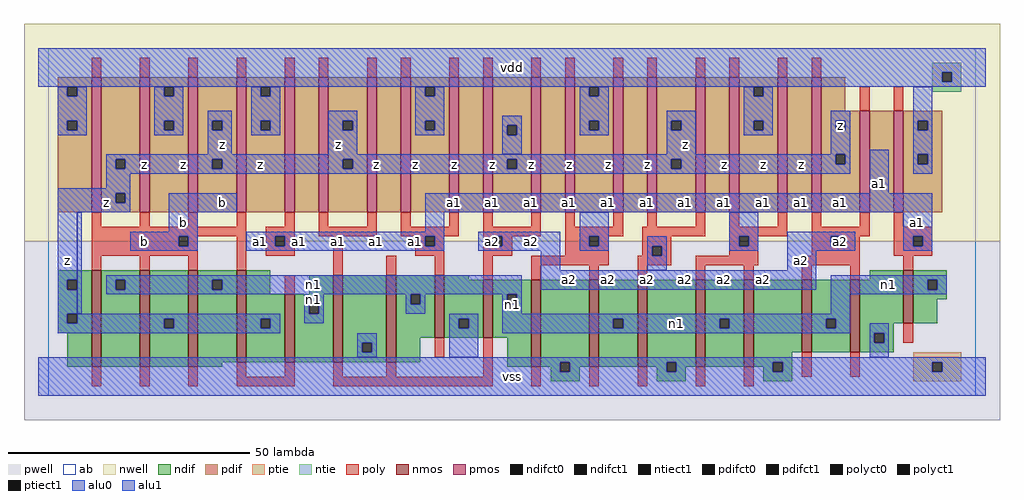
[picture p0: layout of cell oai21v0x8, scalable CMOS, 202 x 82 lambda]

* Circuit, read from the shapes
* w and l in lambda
.subckt oai21v0x8 a1 a2 b n1 vdd vss z
M1 n1 b z vss nfet w=20 l=2 m=3
M2 z b n1 vss nfet w=19 l=2
M3 n1 b z vss nfet w=14 l=2
M4 vss a2 n1 vss nfet w=18 l=2 m=3
M5 vss a1 n1 vss nfet w=13 l=2
M6 n1 a2 vss vss nfet w=12 l=2
M7 vss a1 n1 vss nfet w=18 l=2 m=4
M8 n1 a2 vss vss nfet w=15 l=2 m=2
M9 n1 a1 vss vss nfet w=11 l=2
M10 z b vdd vdd pfet w=28 l=2 m=4
M11 n2 a1 vdd vdd pfet w=28 l=2
M12 z a2 n2 vdd pfet w=28 l=2
M13 n3 a2 z vdd pfet w=28 l=2
M14 vdd a1 n3 vdd pfet w=28 l=2
M15 n4 a1 vdd vdd pfet w=28 l=2
M16 z a2 n4 vdd pfet w=28 l=2
M17 n5 a2 z vdd pfet w=28 l=2
M18 vdd a1 n5 vdd pfet w=28 l=2
M19 n6 a1 vdd vdd pfet w=28 l=2
M20 z a2 n6 vdd pfet w=28 l=2
M21 n7 a2 z vdd pfet w=28 l=2
M22 vdd a1 n7 vdd pfet w=28 l=2
M23 n8 a1 vdd vdd pfet w=28 l=2
M24 z a2 n8 vdd pfet w=28 l=2
M25 n9 a2 z vdd pfet w=21 l=2
M26 vdd a1 n9 vdd pfet w=21 l=2
.ends

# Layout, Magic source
magic
tech scmos
<< ab >>
rect 0 0 192 72
<< nwell >>
rect -5 32 197 77
<< pwell >>
rect -5 -5 197 32
<< poly >>
rect 9 66 11 70
rect 19 66 21 70
rect 29 66 31 70
rect 39 66 41 70
rect 49 66 51 70
rect 56 66 58 70
rect 66 66 68 70
rect 73 66 75 70
rect 83 66 85 70
rect 90 66 92 70
rect 100 66 102 70
rect 107 66 109 70
rect 117 66 119 70
rect 124 66 126 70
rect 134 66 136 70
rect 141 66 143 70
rect 151 66 153 70
rect 158 66 160 70
rect 168 59 170 64
rect 175 59 177 64
rect 9 35 11 38
rect 19 35 21 38
rect 29 35 31 38
rect 39 35 41 38
rect 49 35 51 38
rect 9 33 41 35
rect 9 31 27 33
rect 29 31 31 33
rect 9 29 31 31
rect 9 26 11 29
rect 19 26 21 29
rect 29 26 31 29
rect 39 26 41 33
rect 45 33 51 35
rect 56 35 58 38
rect 66 35 68 38
rect 56 33 68 35
rect 73 35 75 38
rect 83 35 85 38
rect 73 33 85 35
rect 90 35 92 38
rect 100 35 102 38
rect 90 33 102 35
rect 107 35 109 38
rect 117 35 119 38
rect 124 35 126 38
rect 134 35 136 38
rect 107 33 119 35
rect 123 33 136 35
rect 141 35 143 38
rect 151 35 153 38
rect 141 33 153 35
rect 158 35 160 38
rect 168 35 170 38
rect 158 33 170 35
rect 175 35 177 38
rect 175 33 183 35
rect 45 31 47 33
rect 49 31 51 33
rect 45 29 51 31
rect 59 25 61 33
rect 76 31 78 33
rect 80 31 82 33
rect 76 29 82 31
rect 70 25 72 29
rect 80 25 82 29
rect 90 31 92 33
rect 94 31 96 33
rect 90 29 96 31
rect 107 31 112 33
rect 114 31 116 33
rect 107 29 116 31
rect 123 31 129 33
rect 123 29 125 31
rect 127 29 129 31
rect 141 31 143 33
rect 145 31 147 33
rect 141 29 147 31
rect 158 31 162 33
rect 164 31 168 33
rect 158 29 168 31
rect 175 31 179 33
rect 181 31 183 33
rect 175 29 183 31
rect 49 21 51 25
rect 90 24 92 29
rect 100 27 116 29
rect 122 27 129 29
rect 134 27 147 29
rect 156 27 168 29
rect 100 24 102 27
rect 112 24 114 27
rect 122 24 124 27
rect 134 24 136 27
rect 144 24 146 27
rect 156 24 158 27
rect 166 24 168 27
rect 177 26 179 29
rect 80 8 82 12
rect 9 2 11 6
rect 19 2 21 6
rect 29 2 31 6
rect 39 4 41 7
rect 49 4 51 7
rect 39 2 51 4
rect 59 4 61 7
rect 70 4 72 7
rect 90 4 92 12
rect 59 2 92 4
rect 100 2 102 6
rect 112 2 114 6
rect 122 2 124 6
rect 177 11 179 15
rect 134 2 136 6
rect 144 2 146 6
rect 156 4 158 9
rect 166 4 168 9
<< ndif >>
rect 2 24 9 26
rect 2 22 4 24
rect 6 22 9 24
rect 2 17 9 22
rect 2 15 4 17
rect 6 15 9 17
rect 2 13 9 15
rect 4 6 9 13
rect 11 24 19 26
rect 11 22 14 24
rect 16 22 19 24
rect 11 6 19 22
rect 21 16 29 26
rect 21 14 24 16
rect 26 14 29 16
rect 21 6 29 14
rect 31 24 39 26
rect 31 22 34 24
rect 36 22 39 24
rect 31 7 39 22
rect 41 21 46 26
rect 54 21 59 25
rect 41 16 49 21
rect 41 14 44 16
rect 46 14 49 16
rect 41 7 49 14
rect 51 19 59 21
rect 51 17 54 19
rect 56 17 59 19
rect 51 7 59 17
rect 61 11 70 25
rect 61 9 65 11
rect 67 9 70 11
rect 61 7 70 9
rect 72 21 80 25
rect 72 19 75 21
rect 77 19 80 21
rect 72 12 80 19
rect 82 24 87 25
rect 170 24 177 26
rect 82 16 90 24
rect 82 14 85 16
rect 87 14 90 16
rect 82 12 90 14
rect 92 21 100 24
rect 92 19 95 21
rect 97 19 100 21
rect 92 12 100 19
rect 72 7 77 12
rect 31 6 36 7
rect 95 6 100 12
rect 102 7 112 24
rect 102 6 106 7
rect 104 5 106 6
rect 108 6 112 7
rect 114 16 122 24
rect 114 14 117 16
rect 119 14 122 16
rect 114 6 122 14
rect 124 7 134 24
rect 124 6 128 7
rect 108 5 110 6
rect 104 3 110 5
rect 126 5 128 6
rect 130 6 134 7
rect 136 16 144 24
rect 136 14 139 16
rect 141 14 144 16
rect 136 6 144 14
rect 146 9 156 24
rect 158 16 166 24
rect 158 14 161 16
rect 163 14 166 16
rect 158 9 166 14
rect 168 15 177 24
rect 179 24 186 26
rect 179 22 182 24
rect 184 22 186 24
rect 179 20 186 22
rect 179 15 184 20
rect 168 13 175 15
rect 168 11 171 13
rect 173 11 175 13
rect 168 9 175 11
rect 146 7 154 9
rect 146 6 150 7
rect 130 5 132 6
rect 126 3 132 5
rect 148 5 150 6
rect 152 5 154 7
rect 148 3 154 5
<< pdif >>
rect 2 64 9 66
rect 2 62 4 64
rect 6 62 9 64
rect 2 57 9 62
rect 2 55 4 57
rect 6 55 9 57
rect 2 38 9 55
rect 11 49 19 66
rect 11 47 14 49
rect 16 47 19 49
rect 11 42 19 47
rect 11 40 14 42
rect 16 40 19 42
rect 11 38 19 40
rect 21 64 29 66
rect 21 62 24 64
rect 26 62 29 64
rect 21 57 29 62
rect 21 55 24 57
rect 26 55 29 57
rect 21 38 29 55
rect 31 57 39 66
rect 31 55 34 57
rect 36 55 39 57
rect 31 49 39 55
rect 31 47 34 49
rect 36 47 39 49
rect 31 38 39 47
rect 41 64 49 66
rect 41 62 44 64
rect 46 62 49 64
rect 41 57 49 62
rect 41 55 44 57
rect 46 55 49 57
rect 41 38 49 55
rect 51 38 56 66
rect 58 57 66 66
rect 58 55 61 57
rect 63 55 66 57
rect 58 49 66 55
rect 58 47 61 49
rect 63 47 66 49
rect 58 38 66 47
rect 68 38 73 66
rect 75 64 83 66
rect 75 62 78 64
rect 80 62 83 64
rect 75 57 83 62
rect 75 55 78 57
rect 80 55 83 57
rect 75 38 83 55
rect 85 38 90 66
rect 92 56 100 66
rect 92 54 95 56
rect 97 54 100 56
rect 92 49 100 54
rect 92 47 95 49
rect 97 47 100 49
rect 92 38 100 47
rect 102 38 107 66
rect 109 64 117 66
rect 109 62 112 64
rect 114 62 117 64
rect 109 57 117 62
rect 109 55 112 57
rect 114 55 117 57
rect 109 38 117 55
rect 119 38 124 66
rect 126 57 134 66
rect 126 55 129 57
rect 131 55 134 57
rect 126 49 134 55
rect 126 47 129 49
rect 131 47 134 49
rect 126 38 134 47
rect 136 38 141 66
rect 143 64 151 66
rect 143 62 146 64
rect 148 62 151 64
rect 143 57 151 62
rect 143 55 146 57
rect 148 55 151 57
rect 143 38 151 55
rect 153 38 158 66
rect 160 59 165 66
rect 160 57 168 59
rect 160 55 163 57
rect 165 55 168 57
rect 160 50 168 55
rect 160 48 163 50
rect 165 48 168 50
rect 160 38 168 48
rect 170 38 175 59
rect 177 57 185 59
rect 177 55 180 57
rect 182 55 185 57
rect 177 50 185 55
rect 177 48 180 50
rect 182 48 185 50
rect 177 38 185 48
<< alu1 >>
rect -2 67 194 72
rect -2 65 185 67
rect 187 65 194 67
rect -2 64 194 65
rect 33 57 38 59
rect 33 55 34 57
rect 36 55 38 57
rect 33 50 38 55
rect 58 57 64 59
rect 58 55 61 57
rect 63 55 64 57
rect 58 50 64 55
rect 128 57 134 59
rect 128 55 129 57
rect 131 55 134 57
rect 128 50 134 55
rect 162 57 166 59
rect 162 55 163 57
rect 165 55 166 57
rect 162 50 166 55
rect 12 49 163 50
rect 12 47 14 49
rect 16 47 34 49
rect 36 47 61 49
rect 63 47 95 49
rect 97 47 129 49
rect 131 48 163 49
rect 165 48 166 50
rect 131 47 166 48
rect 12 46 166 47
rect 12 43 17 46
rect 2 42 17 43
rect 170 42 174 51
rect 2 40 14 42
rect 16 40 17 42
rect 2 38 17 40
rect 25 38 39 42
rect 78 38 183 42
rect 2 24 6 38
rect 2 22 4 24
rect 2 17 6 22
rect 25 34 31 38
rect 78 34 82 38
rect 17 33 31 34
rect 17 31 27 33
rect 29 31 31 33
rect 17 30 31 31
rect 41 33 82 34
rect 41 31 47 33
rect 49 31 78 33
rect 80 31 82 33
rect 41 30 82 31
rect 89 33 106 34
rect 89 31 92 33
rect 94 31 106 33
rect 89 30 106 31
rect 102 26 106 30
rect 153 33 167 34
rect 153 31 162 33
rect 164 31 167 33
rect 153 30 167 31
rect 177 33 183 38
rect 177 31 179 33
rect 181 31 183 33
rect 177 30 183 31
rect 153 26 159 30
rect 102 22 159 26
rect 2 15 4 17
rect 6 16 48 17
rect 6 15 24 16
rect 2 14 24 15
rect 26 14 44 16
rect 46 14 48 16
rect 2 13 48 14
rect -2 7 194 8
rect -2 5 106 7
rect 108 5 128 7
rect 130 5 150 7
rect 152 5 183 7
rect 185 5 194 7
rect -2 0 194 5
<< ptie >>
rect 179 7 189 9
rect 179 5 183 7
rect 185 5 189 7
rect 179 3 189 5
<< ntie >>
rect 183 67 189 69
rect 183 65 185 67
rect 187 65 189 67
rect 183 63 189 65
<< nmos >>
rect 9 6 11 26
rect 19 6 21 26
rect 29 6 31 26
rect 39 7 41 26
rect 49 7 51 21
rect 59 7 61 25
rect 70 7 72 25
rect 80 12 82 25
rect 90 12 92 24
rect 100 6 102 24
rect 112 6 114 24
rect 122 6 124 24
rect 134 6 136 24
rect 144 6 146 24
rect 156 9 158 24
rect 166 9 168 24
rect 177 15 179 26
<< pmos >>
rect 9 38 11 66
rect 19 38 21 66
rect 29 38 31 66
rect 39 38 41 66
rect 49 38 51 66
rect 56 38 58 66
rect 66 38 68 66
rect 73 38 75 66
rect 83 38 85 66
rect 90 38 92 66
rect 100 38 102 66
rect 107 38 109 66
rect 117 38 119 66
rect 124 38 126 66
rect 134 38 136 66
rect 141 38 143 66
rect 151 38 153 66
rect 158 38 160 66
rect 168 38 170 59
rect 175 38 177 59
<< polyct0 >>
rect 112 31 114 33
rect 125 29 127 31
rect 143 31 145 33
<< polyct1 >>
rect 27 31 29 33
rect 47 31 49 33
rect 78 31 80 33
rect 92 31 94 33
rect 162 31 164 33
rect 179 31 181 33
<< ndifct0 >>
rect 14 22 16 24
rect 34 22 36 24
rect 54 17 56 19
rect 65 9 67 11
rect 75 19 77 21
rect 85 14 87 16
rect 95 19 97 21
rect 117 14 119 16
rect 139 14 141 16
rect 161 14 163 16
rect 182 22 184 24
rect 171 11 173 13
<< ndifct1 >>
rect 4 22 6 24
rect 4 15 6 17
rect 24 14 26 16
rect 44 14 46 16
rect 106 5 108 7
rect 128 5 130 7
rect 150 5 152 7
<< ntiect1 >>
rect 185 65 187 67
<< ptiect1 >>
rect 183 5 185 7
<< pdifct0 >>
rect 4 62 6 64
rect 4 55 6 57
rect 24 62 26 64
rect 24 55 26 57
rect 44 62 46 64
rect 44 55 46 57
rect 78 62 80 64
rect 78 55 80 57
rect 95 54 97 56
rect 112 62 114 64
rect 112 55 114 57
rect 146 62 148 64
rect 146 55 148 57
rect 180 55 182 57
rect 180 48 182 50
<< pdifct1 >>
rect 14 47 16 49
rect 14 40 16 42
rect 34 55 36 57
rect 34 47 36 49
rect 61 55 63 57
rect 61 47 63 49
rect 95 47 97 49
rect 129 55 131 57
rect 129 47 131 49
rect 163 55 165 57
rect 163 48 165 50
<< alu0 >>
rect 2 62 4 64
rect 6 62 8 64
rect 2 57 8 62
rect 2 55 4 57
rect 6 55 8 57
rect 2 54 8 55
rect 22 62 24 64
rect 26 62 28 64
rect 22 57 28 62
rect 42 62 44 64
rect 46 62 48 64
rect 22 55 24 57
rect 26 55 28 57
rect 22 54 28 55
rect 42 57 48 62
rect 76 62 78 64
rect 80 62 82 64
rect 42 55 44 57
rect 46 55 48 57
rect 42 54 48 55
rect 76 57 82 62
rect 110 62 112 64
rect 114 62 116 64
rect 76 55 78 57
rect 80 55 82 57
rect 76 54 82 55
rect 94 56 98 58
rect 94 54 95 56
rect 97 54 98 56
rect 110 57 116 62
rect 144 62 146 64
rect 148 62 150 64
rect 110 55 112 57
rect 114 55 116 57
rect 110 54 116 55
rect 94 50 98 54
rect 144 57 150 62
rect 144 55 146 57
rect 148 55 150 57
rect 144 54 150 55
rect 179 57 183 64
rect 179 55 180 57
rect 182 55 183 57
rect 179 50 183 55
rect 179 48 180 50
rect 182 48 183 50
rect 179 46 183 48
rect 6 17 7 38
rect 110 33 116 38
rect 141 33 147 38
rect 110 31 112 33
rect 114 31 116 33
rect 110 30 116 31
rect 124 31 128 33
rect 124 29 125 31
rect 127 29 128 31
rect 141 31 143 33
rect 145 31 147 33
rect 141 30 147 31
rect 124 26 128 29
rect 12 24 98 25
rect 12 22 14 24
rect 16 22 34 24
rect 36 22 98 24
rect 162 24 186 25
rect 162 22 182 24
rect 184 22 186 24
rect 12 21 98 22
rect 53 19 57 21
rect 53 17 54 19
rect 56 17 57 19
rect 74 19 75 21
rect 77 19 78 21
rect 74 17 78 19
rect 94 19 95 21
rect 97 19 98 21
rect 94 17 98 19
rect 162 21 186 22
rect 162 17 166 21
rect 53 15 57 17
rect 83 16 89 17
rect 83 14 85 16
rect 87 14 89 16
rect 64 11 68 13
rect 64 9 65 11
rect 67 9 68 11
rect 64 8 68 9
rect 83 8 89 14
rect 94 16 166 17
rect 94 14 117 16
rect 119 14 139 16
rect 141 14 161 16
rect 163 14 166 16
rect 94 13 166 14
rect 170 13 174 15
rect 170 11 171 13
rect 173 11 174 13
rect 170 8 174 11
<< labels >>
rlabel alu0 55 20 55 20 6 n1
rlabel alu0 96 19 96 19 6 n1
rlabel alu0 55 23 55 23 6 n1
rlabel alu0 130 15 130 15 6 n1
rlabel alu0 174 23 174 23 6 n1
rlabel alu1 20 32 20 32 6 b
rlabel alu1 4 28 4 28 6 z
rlabel alu1 28 36 28 36 6 b
rlabel alu1 12 40 12 40 6 z
rlabel alu1 28 48 28 48 6 z
rlabel alu1 20 48 20 48 6 z
rlabel alu1 44 32 44 32 6 a1
rlabel alu1 52 32 52 32 6 a1
rlabel alu1 60 32 60 32 6 a1
rlabel alu1 68 32 68 32 6 a1
rlabel alu1 36 40 36 40 6 b
rlabel alu1 36 52 36 52 6 z
rlabel alu1 68 48 68 48 6 z
rlabel alu1 44 48 44 48 6 z
rlabel alu1 60 52 60 52 6 z
rlabel alu1 96 4 96 4 6 vss
rlabel alu1 108 24 108 24 6 a2
rlabel alu1 92 32 92 32 6 a2
rlabel alu1 100 32 100 32 6 a2
rlabel alu1 76 32 76 32 6 a1
rlabel alu1 100 40 100 40 6 a1
rlabel alu1 108 40 108 40 6 a1
rlabel alu1 84 40 84 40 6 a1
rlabel alu1 92 40 92 40 6 a1
rlabel alu1 76 48 76 48 6 z
rlabel alu1 100 48 100 48 6 z
rlabel alu1 108 48 108 48 6 z
rlabel alu1 84 48 84 48 6 z
rlabel alu1 92 48 92 48 6 z
rlabel alu1 96 68 96 68 6 vdd
rlabel alu1 116 24 116 24 6 a2
rlabel alu1 132 24 132 24 6 a2
rlabel alu1 140 24 140 24 6 a2
rlabel alu1 148 24 148 24 6 a2
rlabel alu1 124 24 124 24 6 a2
rlabel alu1 116 40 116 40 6 a1
rlabel alu1 132 40 132 40 6 a1
rlabel alu1 140 40 140 40 6 a1
rlabel alu1 148 40 148 40 6 a1
rlabel alu1 124 40 124 40 6 a1
rlabel alu1 116 48 116 48 6 z
rlabel alu1 132 52 132 52 6 z
rlabel alu1 140 48 140 48 6 z
rlabel alu1 148 48 148 48 6 z
rlabel alu1 124 48 124 48 6 z
rlabel alu1 164 32 164 32 6 a2
rlabel alu1 156 28 156 28 6 a2
rlabel alu1 156 40 156 40 6 a1
rlabel alu1 164 40 164 40 6 a1
rlabel alu1 180 36 180 36 6 a1
rlabel alu1 172 44 172 44 6 a1
rlabel alu1 156 48 156 48 6 z
rlabel pdifct1 164 56 164 56 6 z
<< end >>
